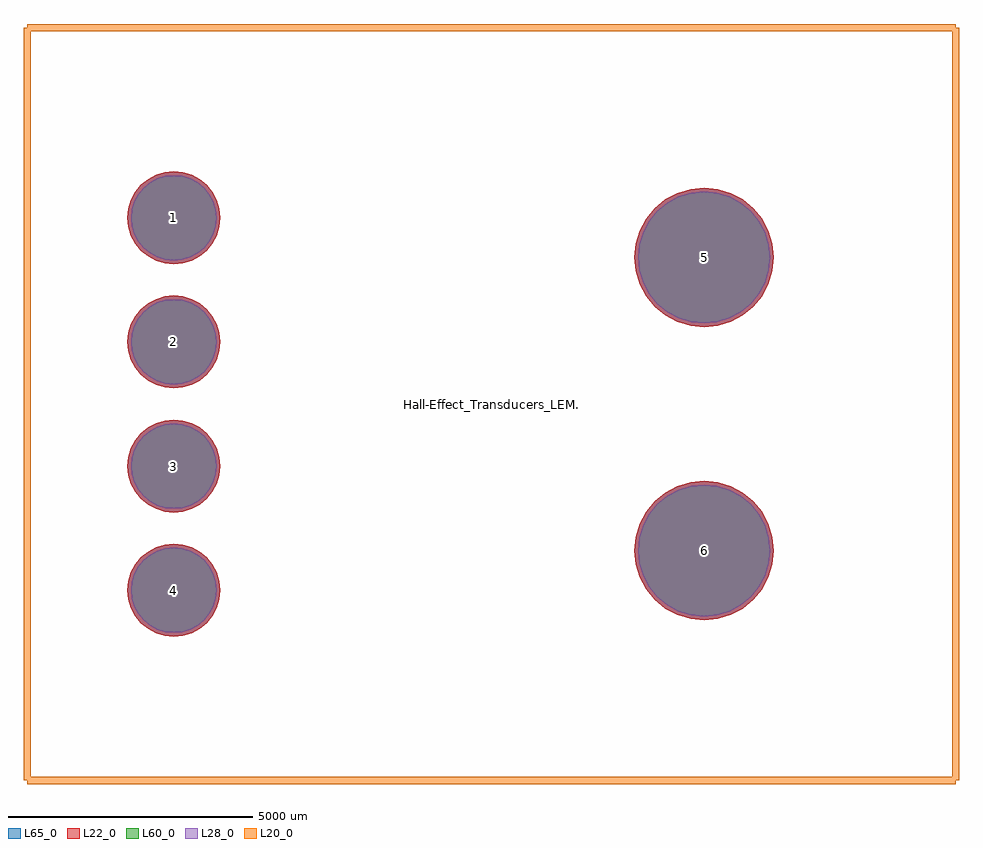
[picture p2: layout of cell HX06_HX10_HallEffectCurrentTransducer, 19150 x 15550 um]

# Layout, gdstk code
import gdstk
lib = gdstk.Library(unit=1e-6, precision=1e-09)
def P(c, l, *ps):  # polygons
    for p in ps: c.add(gdstk.Polygon(p, *l))
L20_0 = (20, 0)
L22_0 = (22, 0)
L28_0 = (28, 0)
L60_0 = (60, 0)
L65_0 = (65, 0)

hx06_hx10_halleffectcurr = lib.new_cell('HX06_HX10_HallEffectCurrentTransducer')
P(hx06_hx10_halleffectcurr, L22_0, [(-5550,-3810),(-5568.254,-3624.664),(-5622.314,-3446.451),(-5710.104,-3282.208),(-5828.249,-3138.249),(-5972.208,-3020.104),(-6136.451,-2932.314),(-6314.664,-2878.254),(-6500,-2860),(-6685.336,-2878.254),(-6863.549,-2932.314),(-7027.792,-3020.104),(-7171.751,-3138.249),(-7289.896,-3282.208),(-7377.686,-3446.451),(-7431.746,-3624.664),(-7450,-3810),(-7431.746,-3995.336),(-7377.686,-4173.549),(-7289.896,-4337.792),(-7171.751,-4481.751),(-7027.792,-4599.896),(-6863.549,-4687.686),(-6685.336,-4741.746),(-6500,-4760),(-6314.664,-4741.746),(-6136.451,-4687.686),(-5972.208,-4599.896),(-5828.249,-4481.751),(-5710.104,-4337.792),(-5622.314,-4173.549),(-5568.254,-3995.336)],
  [(-5550,3810),(-5568.254,3995.336),(-5622.314,4173.549),(-5710.104,4337.792),(-5828.249,4481.751),(-5972.208,4599.896),(-6136.451,4687.686),(-6314.664,4741.746),(-6500,4760),(-6685.336,4741.746),(-6863.549,4687.686),(-7027.792,4599.896),(-7171.751,4481.751),(-7289.896,4337.792),(-7377.686,4173.549),(-7431.746,3995.336),(-7450,3810),(-7431.746,3624.664),(-7377.686,3446.451),(-7289.896,3282.208),(-7171.751,3138.249),(-7027.792,3020.104),(-6863.549,2932.314),(-6685.336,2878.254),(-6500,2860),(-6314.664,2878.254),(-6136.451,2932.314),(-5972.208,3020.104),(-5828.249,3138.249),(-5710.104,3282.208),(-5622.314,3446.451),(-5568.254,3624.664)],
  [(-5550,1270),(-5568.254,1455.336),(-5622.314,1633.549),(-5710.104,1797.792),(-5828.249,1941.751),(-5972.208,2059.896),(-6136.451,2147.686),(-6314.664,2201.746),(-6500,2220),(-6685.336,2201.746),(-6863.549,2147.686),(-7027.792,2059.896),(-7171.751,1941.751),(-7289.896,1797.792),(-7377.686,1633.549),(-7431.746,1455.336),(-7450,1270),(-7431.746,1084.664),(-7377.686,906.451),(-7289.896,742.208),(-7171.751,598.249),(-7027.792,480.104),(-6863.549,392.314),(-6685.336,338.254),(-6500,320),(-6314.664,338.254),(-6136.451,392.314),(-5972.208,480.104),(-5828.249,598.249),(-5710.104,742.208),(-5622.314,906.451),(-5568.254,1084.664)],
  [(-5550,-1270),(-5568.254,-1084.664),(-5622.314,-906.451),(-5710.104,-742.208),(-5828.249,-598.249),(-5972.208,-480.104),(-6136.451,-392.314),(-6314.664,-338.254),(-6500,-320),(-6685.336,-338.254),(-6863.549,-392.314),(-7027.792,-480.104),(-7171.751,-598.249),(-7289.896,-742.208),(-7377.686,-906.451),(-7431.746,-1084.664),(-7450,-1270),(-7431.746,-1455.336),(-7377.686,-1633.549),(-7289.896,-1797.792),(-7171.751,-1941.751),(-7027.792,-2059.896),(-6863.549,-2147.686),(-6685.336,-2201.746),(-6500,-2220),(-6314.664,-2201.746),(-6136.451,-2147.686),(-5972.208,-2059.896),(-5828.249,-1941.751),(-5710.104,-1797.792),(-5622.314,-1633.549),(-5568.254,-1455.336)],
  [(5775,-3000),(5747.619,-2721.996),(5666.528,-2454.676),(5534.844,-2208.312),(5357.627,-1992.373),(5141.688,-1815.156),(4895.324,-1683.472),(4628.004,-1602.381),(4350,-1575),(4071.996,-1602.381),(3804.676,-1683.472),(3558.312,-1815.156),(3342.373,-1992.373),(3165.156,-2208.312),(3033.472,-2454.676),(2952.381,-2721.996),(2925,-3000),(2952.381,-3278.004),(3033.472,-3545.324),(3165.156,-3791.688),(3342.373,-4007.627),(3558.312,-4184.844),(3804.676,-4316.528),(4071.996,-4397.619),(4350,-4425),(4628.004,-4397.619),(4895.324,-4316.528),(5141.688,-4184.844),(5357.627,-4007.627),(5534.844,-3791.688),(5666.528,-3545.324),(5747.619,-3278.004)],
  [(5775,3000),(5747.619,3278.004),(5666.528,3545.324),(5534.844,3791.688),(5357.627,4007.627),(5141.688,4184.844),(4895.324,4316.528),(4628.004,4397.619),(4350,4425),(4071.996,4397.619),(3804.676,4316.528),(3558.312,4184.844),(3342.373,4007.627),(3165.156,3791.688),(3033.472,3545.324),(2952.381,3278.004),(2925,3000),(2952.381,2721.996),(3033.472,2454.676),(3165.156,2208.312),(3342.373,1992.373),(3558.312,1815.156),(3804.676,1683.472),(4071.996,1602.381),(4350,1575),(4628.004,1602.381),(4895.324,1683.472),(5141.688,1815.156),(5357.627,1992.373),(5534.844,2208.312),(5666.528,2454.676),(5747.619,2721.996)])
P(hx06_hx10_halleffectcurr, L28_0, [(-5625,-3810),(-5641.813,-3639.296),(-5691.605,-3475.152),(-5772.464,-3323.876),(-5881.282,-3191.282),(-6013.876,-3082.464),(-6165.152,-3001.605),(-6329.296,-2951.813),(-6500,-2935),(-6670.704,-2951.813),(-6834.848,-3001.605),(-6986.124,-3082.464),(-7118.718,-3191.282),(-7227.536,-3323.876),(-7308.395,-3475.152),(-7358.187,-3639.296),(-7375,-3810),(-7358.187,-3980.704),(-7308.395,-4144.848),(-7227.536,-4296.124),(-7118.718,-4428.718),(-6986.124,-4537.536),(-6834.848,-4618.395),(-6670.704,-4668.187),(-6500,-4685),(-6329.296,-4668.187),(-6165.152,-4618.395),(-6013.876,-4537.536),(-5881.282,-4428.718),(-5772.464,-4296.124),(-5691.605,-4144.848),(-5641.813,-3980.704)],
  [(-5625,3810),(-5641.813,3980.704),(-5691.605,4144.848),(-5772.464,4296.124),(-5881.282,4428.718),(-6013.876,4537.536),(-6165.152,4618.395),(-6329.296,4668.187),(-6500,4685),(-6670.704,4668.187),(-6834.848,4618.395),(-6986.124,4537.536),(-7118.718,4428.718),(-7227.536,4296.124),(-7308.395,4144.848),(-7358.187,3980.704),(-7375,3810),(-7358.187,3639.296),(-7308.395,3475.152),(-7227.536,3323.876),(-7118.718,3191.282),(-6986.124,3082.464),(-6834.848,3001.605),(-6670.704,2951.813),(-6500,2935),(-6329.296,2951.813),(-6165.152,3001.605),(-6013.876,3082.464),(-5881.282,3191.282),(-5772.464,3323.876),(-5691.605,3475.152),(-5641.813,3639.296)],
  [(-5625,1270),(-5641.813,1440.704),(-5691.605,1604.848),(-5772.464,1756.124),(-5881.282,1888.718),(-6013.876,1997.536),(-6165.152,2078.395),(-6329.296,2128.187),(-6500,2145),(-6670.704,2128.187),(-6834.848,2078.395),(-6986.124,1997.536),(-7118.718,1888.718),(-7227.536,1756.124),(-7308.395,1604.848),(-7358.187,1440.704),(-7375,1270),(-7358.187,1099.296),(-7308.395,935.152),(-7227.536,783.876),(-7118.718,651.282),(-6986.124,542.464),(-6834.848,461.605),(-6670.704,411.813),(-6500,395),(-6329.296,411.813),(-6165.152,461.605),(-6013.876,542.464),(-5881.282,651.282),(-5772.464,783.876),(-5691.605,935.152),(-5641.813,1099.296)],
  [(-5625,-1270),(-5641.813,-1099.296),(-5691.605,-935.152),(-5772.464,-783.876),(-5881.282,-651.282),(-6013.876,-542.464),(-6165.152,-461.605),(-6329.296,-411.813),(-6500,-395),(-6670.704,-411.813),(-6834.848,-461.605),(-6986.124,-542.464),(-7118.718,-651.282),(-7227.536,-783.876),(-7308.395,-935.152),(-7358.187,-1099.296),(-7375,-1270),(-7358.187,-1440.704),(-7308.395,-1604.848),(-7227.536,-1756.124),(-7118.718,-1888.718),(-6986.124,-1997.536),(-6834.848,-2078.395),(-6670.704,-2128.187),(-6500,-2145),(-6329.296,-2128.187),(-6165.152,-2078.395),(-6013.876,-1997.536),(-5881.282,-1888.718),(-5772.464,-1756.124),(-5691.605,-1604.848),(-5641.813,-1440.704)],
  [(5700,-3000),(5674.06,-2736.628),(5597.237,-2483.377),(5472.484,-2249.98),(5304.594,-2045.406),(5100.02,-1877.516),(4866.623,-1752.763),(4613.372,-1675.94),(4350,-1650),(4086.628,-1675.94),(3833.377,-1752.763),(3599.98,-1877.516),(3395.406,-2045.406),(3227.516,-2249.98),(3102.763,-2483.377),(3025.94,-2736.628),(3000,-3000),(3025.94,-3263.372),(3102.763,-3516.623),(3227.516,-3750.02),(3395.406,-3954.594),(3599.98,-4122.484),(3833.377,-4247.237),(4086.628,-4324.06),(4350,-4350),(4613.372,-4324.06),(4866.623,-4247.237),(5100.02,-4122.484),(5304.594,-3954.594),(5472.484,-3750.02),(5597.237,-3516.623),(5674.06,-3263.372)],
  [(5700,3000),(5674.06,3263.372),(5597.237,3516.623),(5472.484,3750.02),(5304.594,3954.594),(5100.02,4122.484),(4866.623,4247.237),(4613.372,4324.06),(4350,4350),(4086.628,4324.06),(3833.377,4247.237),(3599.98,4122.484),(3395.406,3954.594),(3227.516,3750.02),(3102.763,3516.623),(3025.94,3263.372),(3000,3000),(3025.94,2736.628),(3102.763,2483.377),(3227.516,2249.98),(3395.406,2045.406),(3599.98,1877.516),(3833.377,1752.763),(4086.628,1675.94),(4350,1650),(4613.372,1675.94),(4866.623,1752.763),(5100.02,1877.516),(5304.594,2045.406),(5472.484,2249.98),(5597.237,2483.377),(5674.06,2736.628)])
P(hx06_hx10_halleffectcurr, L60_0, [(-5625,-3810),(-5641.813,-3639.296),(-5691.605,-3475.152),(-5772.464,-3323.876),(-5881.282,-3191.282),(-6013.876,-3082.464),(-6165.152,-3001.605),(-6329.296,-2951.813),(-6500,-2935),(-6670.704,-2951.813),(-6834.848,-3001.605),(-6986.124,-3082.464),(-7118.718,-3191.282),(-7227.536,-3323.876),(-7308.395,-3475.152),(-7358.187,-3639.296),(-7375,-3810),(-7358.187,-3980.704),(-7308.395,-4144.848),(-7227.536,-4296.124),(-7118.718,-4428.718),(-6986.124,-4537.536),(-6834.848,-4618.395),(-6670.704,-4668.187),(-6500,-4685),(-6329.296,-4668.187),(-6165.152,-4618.395),(-6013.876,-4537.536),(-5881.282,-4428.718),(-5772.464,-4296.124),(-5691.605,-4144.848),(-5641.813,-3980.704)],
  [(-5625,3810),(-5641.813,3980.704),(-5691.605,4144.848),(-5772.464,4296.124),(-5881.282,4428.718),(-6013.876,4537.536),(-6165.152,4618.395),(-6329.296,4668.187),(-6500,4685),(-6670.704,4668.187),(-6834.848,4618.395),(-6986.124,4537.536),(-7118.718,4428.718),(-7227.536,4296.124),(-7308.395,4144.848),(-7358.187,3980.704),(-7375,3810),(-7358.187,3639.296),(-7308.395,3475.152),(-7227.536,3323.876),(-7118.718,3191.282),(-6986.124,3082.464),(-6834.848,3001.605),(-6670.704,2951.813),(-6500,2935),(-6329.296,2951.813),(-6165.152,3001.605),(-6013.876,3082.464),(-5881.282,3191.282),(-5772.464,3323.876),(-5691.605,3475.152),(-5641.813,3639.296)],
  [(-5625,1270),(-5641.813,1440.704),(-5691.605,1604.848),(-5772.464,1756.124),(-5881.282,1888.718),(-6013.876,1997.536),(-6165.152,2078.395),(-6329.296,2128.187),(-6500,2145),(-6670.704,2128.187),(-6834.848,2078.395),(-6986.124,1997.536),(-7118.718,1888.718),(-7227.536,1756.124),(-7308.395,1604.848),(-7358.187,1440.704),(-7375,1270),(-7358.187,1099.296),(-7308.395,935.152),(-7227.536,783.876),(-7118.718,651.282),(-6986.124,542.464),(-6834.848,461.605),(-6670.704,411.813),(-6500,395),(-6329.296,411.813),(-6165.152,461.605),(-6013.876,542.464),(-5881.282,651.282),(-5772.464,783.876),(-5691.605,935.152),(-5641.813,1099.296)],
  [(-5625,-1270),(-5641.813,-1099.296),(-5691.605,-935.152),(-5772.464,-783.876),(-5881.282,-651.282),(-6013.876,-542.464),(-6165.152,-461.605),(-6329.296,-411.813),(-6500,-395),(-6670.704,-411.813),(-6834.848,-461.605),(-6986.124,-542.464),(-7118.718,-651.282),(-7227.536,-783.876),(-7308.395,-935.152),(-7358.187,-1099.296),(-7375,-1270),(-7358.187,-1440.704),(-7308.395,-1604.848),(-7227.536,-1756.124),(-7118.718,-1888.718),(-6986.124,-1997.536),(-6834.848,-2078.395),(-6670.704,-2128.187),(-6500,-2145),(-6329.296,-2128.187),(-6165.152,-2078.395),(-6013.876,-1997.536),(-5881.282,-1888.718),(-5772.464,-1756.124),(-5691.605,-1604.848),(-5641.813,-1440.704)],
  [(5700,-3000),(5674.06,-2736.628),(5597.237,-2483.377),(5472.484,-2249.98),(5304.594,-2045.406),(5100.02,-1877.516),(4866.623,-1752.763),(4613.372,-1675.94),(4350,-1650),(4086.628,-1675.94),(3833.377,-1752.763),(3599.98,-1877.516),(3395.406,-2045.406),(3227.516,-2249.98),(3102.763,-2483.377),(3025.94,-2736.628),(3000,-3000),(3025.94,-3263.372),(3102.763,-3516.623),(3227.516,-3750.02),(3395.406,-3954.594),(3599.98,-4122.484),(3833.377,-4247.237),(4086.628,-4324.06),(4350,-4350),(4613.372,-4324.06),(4866.623,-4247.237),(5100.02,-4122.484),(5304.594,-3954.594),(5472.484,-3750.02),(5597.237,-3516.623),(5674.06,-3263.372)],
  [(5700,3000),(5674.06,3263.372),(5597.237,3516.623),(5472.484,3750.02),(5304.594,3954.594),(5100.02,4122.484),(4866.623,4247.237),(4613.372,4324.06),(4350,4350),(4086.628,4324.06),(3833.377,4247.237),(3599.98,4122.484),(3395.406,3954.594),(3227.516,3750.02),(3102.763,3516.623),(3025.94,3263.372),(3000,3000),(3025.94,2736.628),(3102.763,2483.377),(3227.516,2249.98),(3395.406,2045.406),(3599.98,1877.516),(3833.377,1752.763),(4086.628,1675.94),(4350,1650),(4613.372,1675.94),(4866.623,1752.763),(5100.02,1877.516),(5304.594,2045.406),(5472.484,2249.98),(5597.237,2483.377),(5674.06,2736.628)])
P(hx06_hx10_halleffectcurr, L65_0, [(-5550,-3810),(-5568.254,-3624.664),(-5622.314,-3446.451),(-5710.104,-3282.208),(-5828.249,-3138.249),(-5972.208,-3020.104),(-6136.451,-2932.314),(-6314.664,-2878.254),(-6500,-2860),(-6685.336,-2878.254),(-6863.549,-2932.314),(-7027.792,-3020.104),(-7171.751,-3138.249),(-7289.896,-3282.208),(-7377.686,-3446.451),(-7431.746,-3624.664),(-7450,-3810),(-7431.746,-3995.336),(-7377.686,-4173.549),(-7289.896,-4337.792),(-7171.751,-4481.751),(-7027.792,-4599.896),(-6863.549,-4687.686),(-6685.336,-4741.746),(-6500,-4760),(-6314.664,-4741.746),(-6136.451,-4687.686),(-5972.208,-4599.896),(-5828.249,-4481.751),(-5710.104,-4337.792),(-5622.314,-4173.549),(-5568.254,-3995.336)],
  [(-5550,3810),(-5568.254,3995.336),(-5622.314,4173.549),(-5710.104,4337.792),(-5828.249,4481.751),(-5972.208,4599.896),(-6136.451,4687.686),(-6314.664,4741.746),(-6500,4760),(-6685.336,4741.746),(-6863.549,4687.686),(-7027.792,4599.896),(-7171.751,4481.751),(-7289.896,4337.792),(-7377.686,4173.549),(-7431.746,3995.336),(-7450,3810),(-7431.746,3624.664),(-7377.686,3446.451),(-7289.896,3282.208),(-7171.751,3138.249),(-7027.792,3020.104),(-6863.549,2932.314),(-6685.336,2878.254),(-6500,2860),(-6314.664,2878.254),(-6136.451,2932.314),(-5972.208,3020.104),(-5828.249,3138.249),(-5710.104,3282.208),(-5622.314,3446.451),(-5568.254,3624.664)],
  [(-5550,1270),(-5568.254,1455.336),(-5622.314,1633.549),(-5710.104,1797.792),(-5828.249,1941.751),(-5972.208,2059.896),(-6136.451,2147.686),(-6314.664,2201.746),(-6500,2220),(-6685.336,2201.746),(-6863.549,2147.686),(-7027.792,2059.896),(-7171.751,1941.751),(-7289.896,1797.792),(-7377.686,1633.549),(-7431.746,1455.336),(-7450,1270),(-7431.746,1084.664),(-7377.686,906.451),(-7289.896,742.208),(-7171.751,598.249),(-7027.792,480.104),(-6863.549,392.314),(-6685.336,338.254),(-6500,320),(-6314.664,338.254),(-6136.451,392.314),(-5972.208,480.104),(-5828.249,598.249),(-5710.104,742.208),(-5622.314,906.451),(-5568.254,1084.664)],
  [(-5550,-1270),(-5568.254,-1084.664),(-5622.314,-906.451),(-5710.104,-742.208),(-5828.249,-598.249),(-5972.208,-480.104),(-6136.451,-392.314),(-6314.664,-338.254),(-6500,-320),(-6685.336,-338.254),(-6863.549,-392.314),(-7027.792,-480.104),(-7171.751,-598.249),(-7289.896,-742.208),(-7377.686,-906.451),(-7431.746,-1084.664),(-7450,-1270),(-7431.746,-1455.336),(-7377.686,-1633.549),(-7289.896,-1797.792),(-7171.751,-1941.751),(-7027.792,-2059.896),(-6863.549,-2147.686),(-6685.336,-2201.746),(-6500,-2220),(-6314.664,-2201.746),(-6136.451,-2147.686),(-5972.208,-2059.896),(-5828.249,-1941.751),(-5710.104,-1797.792),(-5622.314,-1633.549),(-5568.254,-1455.336)],
  [(5775,-3000),(5747.619,-2721.996),(5666.528,-2454.676),(5534.844,-2208.312),(5357.627,-1992.373),(5141.688,-1815.156),(4895.324,-1683.472),(4628.004,-1602.381),(4350,-1575),(4071.996,-1602.381),(3804.676,-1683.472),(3558.312,-1815.156),(3342.373,-1992.373),(3165.156,-2208.312),(3033.472,-2454.676),(2952.381,-2721.996),(2925,-3000),(2952.381,-3278.004),(3033.472,-3545.324),(3165.156,-3791.688),(3342.373,-4007.627),(3558.312,-4184.844),(3804.676,-4316.528),(4071.996,-4397.619),(4350,-4425),(4628.004,-4397.619),(4895.324,-4316.528),(5141.688,-4184.844),(5357.627,-4007.627),(5534.844,-3791.688),(5666.528,-3545.324),(5747.619,-3278.004)],
  [(5775,3000),(5747.619,3278.004),(5666.528,3545.324),(5534.844,3791.688),(5357.627,4007.627),(5141.688,4184.844),(4895.324,4316.528),(4628.004,4397.619),(4350,4425),(4071.996,4397.619),(3804.676,4316.528),(3558.312,4184.844),(3342.373,4007.627),(3165.156,3791.688),(3033.472,3545.324),(2952.381,3278.004),(2925,3000),(2952.381,2721.996),(3033.472,2454.676),(3165.156,2208.312),(3342.373,1992.373),(3558.312,1815.156),(3804.676,1683.472),(4071.996,1602.381),(4350,1575),(4628.004,1602.381),(4895.324,1683.472),(5141.688,1815.156),(5357.627,1992.373),(5534.844,2208.312),(5666.528,2454.676),(5747.619,2721.996)])
hx06_hx10_halleffectcurr.add(gdstk.FlexPath([(-9500,7700),(-9500,-7700)], 149.998, ends="flush", simple_path=True, layer=20, datatype=0))  # L20_0
hx06_hx10_halleffectcurr.add(gdstk.FlexPath([(9500,7700),(-9500,7700)], 149.998, ends="flush", simple_path=True, layer=20, datatype=0))  # L20_0
hx06_hx10_halleffectcurr.add(gdstk.FlexPath([(9500,-7700),(9500,7700)], 149.998, ends="flush", simple_path=True, layer=20, datatype=0))  # L20_0
hx06_hx10_halleffectcurr.add(gdstk.FlexPath([(-9500,-7700),(9500,-7700)], 149.998, ends="flush", simple_path=True, layer=20, datatype=0))  # L20_0
hx06_hx10_halleffectcurr.add(gdstk.Label('Hall-Effect_Transducers_LEM.3dshapes/HX06_HX10_HallEffectCurrentTransducer.wrl', (0,0), layer=12, texttype=0))
hx06_hx10_halleffectcurr.add(gdstk.Label('4', (-6500,-3810), layer=28, texttype=0))
hx06_hx10_halleffectcurr.add(gdstk.Label('1', (-6500,3810), layer=28, texttype=0))
hx06_hx10_halleffectcurr.add(gdstk.Label('2', (-6500,1270), layer=28, texttype=0))
hx06_hx10_halleffectcurr.add(gdstk.Label('3', (-6500,-1270), layer=28, texttype=0))
hx06_hx10_halleffectcurr.add(gdstk.Label('6', (4350,-3000), layer=28, texttype=0))
hx06_hx10_halleffectcurr.add(gdstk.Label('5', (4350,3000), layer=28, texttype=0))
hx06_hx10_halleffectcurr.add(gdstk.Label('type', (100,-10200), layer=9, texttype=0))
hx06_hx10_halleffectcurr.add(gdstk.Label('devicename', (100,10800), layer=9, texttype=0))

lib.write_gds('HX06_HX10_HallEffectCurrentTransducer.gds')
